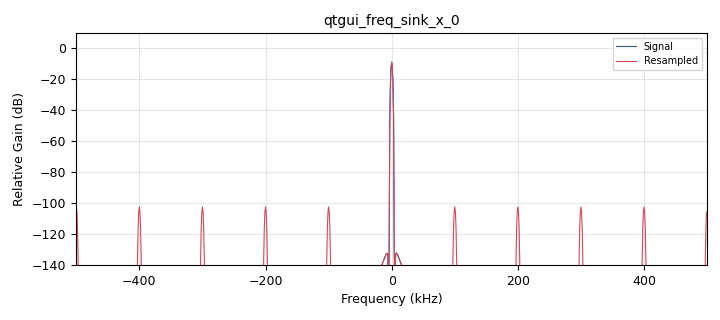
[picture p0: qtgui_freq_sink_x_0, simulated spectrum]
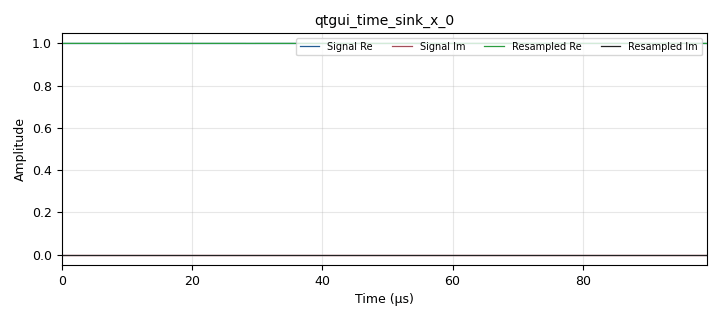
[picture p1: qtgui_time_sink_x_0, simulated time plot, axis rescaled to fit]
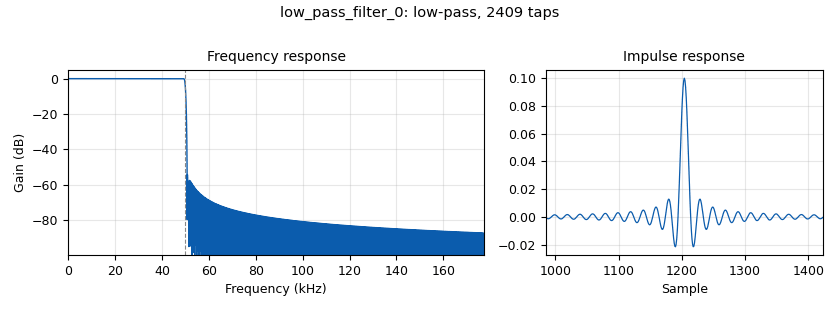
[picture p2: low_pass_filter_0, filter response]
options:
  parameters:
    author: jason
    generate_options: qt_gui
    id: sampling
    output_language: python
    title: sampling
  states: {}

blocks:
- name: freq
  id: variable_qtgui_range
  parameters:
    orient: Qt.Horizontal
    start: '-2e6'
    step: '1'
    stop: 2e6
    value: '0'
  states: {}
- name: samp_rate
  id: variable
  parameters:
    value: 1e6
  states: {}
- name: analog_sig_source_x_0
  id: analog_sig_source_x
  parameters:
    amp: '1'
    freq: freq
    offset: '0'
    phase: '0'
    samp_rate: samp_rate
    type: complex
    waveform: analog.GR_COS_WAVE
  states: {}
- name: blocks_keep_one_in_n_0
  id: blocks_keep_one_in_n
  parameters:
    n: '10'
    type: complex
  states: {}
- name: blocks_throttle_0
  id: blocks_throttle
  parameters:
    samples_per_second: samp_rate
    type: complex
  states: {}
- name: interp_fir_filter_xxx_0
  id: interp_fir_filter_xxx
  parameters:
    interp: '10'
    taps: '[10,0,0,0,0,0,0,0,0,0]'
    type: ccc
  states: {}
- name: low_pass_filter_0
  id: low_pass_filter
  parameters:
    cutoff_freq: 50e3
    decim: '1'
    gain: '1'
    samp_rate: samp_rate
    type: fir_filter_ccf
    width: 1e3
    win: firdes.WIN_HAMMING
  states: {}
- name: qtgui_freq_sink_x_0
  id: qtgui_freq_sink_x
  parameters:
    bw: samp_rate
    fc: '0'
    fftsize: '1000'
    label1: '"Signal"'
    label2: '"Resampled"'
    nconnections: '2'
    type: complex
    wintype: firdes.WIN_BLACKMAN_hARRIS
  states: {}
- name: qtgui_time_sink_x_0
  id: qtgui_time_sink_x
  parameters:
    label1: Signal Re
    label2: Signal Im
    label3: Resampled Re
    label4: Resampled Im
    nconnections: '2'
    size: '100'
    srate: samp_rate
    type: complex
  states: {}

connections:
- [analog_sig_source_x_0, '0', blocks_throttle_0, '0']
- [blocks_keep_one_in_n_0, '0', interp_fir_filter_xxx_0, '0']
- [blocks_throttle_0, '0', blocks_keep_one_in_n_0, '0']
- [blocks_throttle_0, '0', qtgui_freq_sink_x_0, '0']
- [blocks_throttle_0, '0', qtgui_time_sink_x_0, '0']
- [interp_fir_filter_xxx_0, '0', low_pass_filter_0, '0']
- [low_pass_filter_0, '0', qtgui_freq_sink_x_0, '1']
- [low_pass_filter_0, '0', qtgui_time_sink_x_0, '1']

metadata:
  file_format: 1
